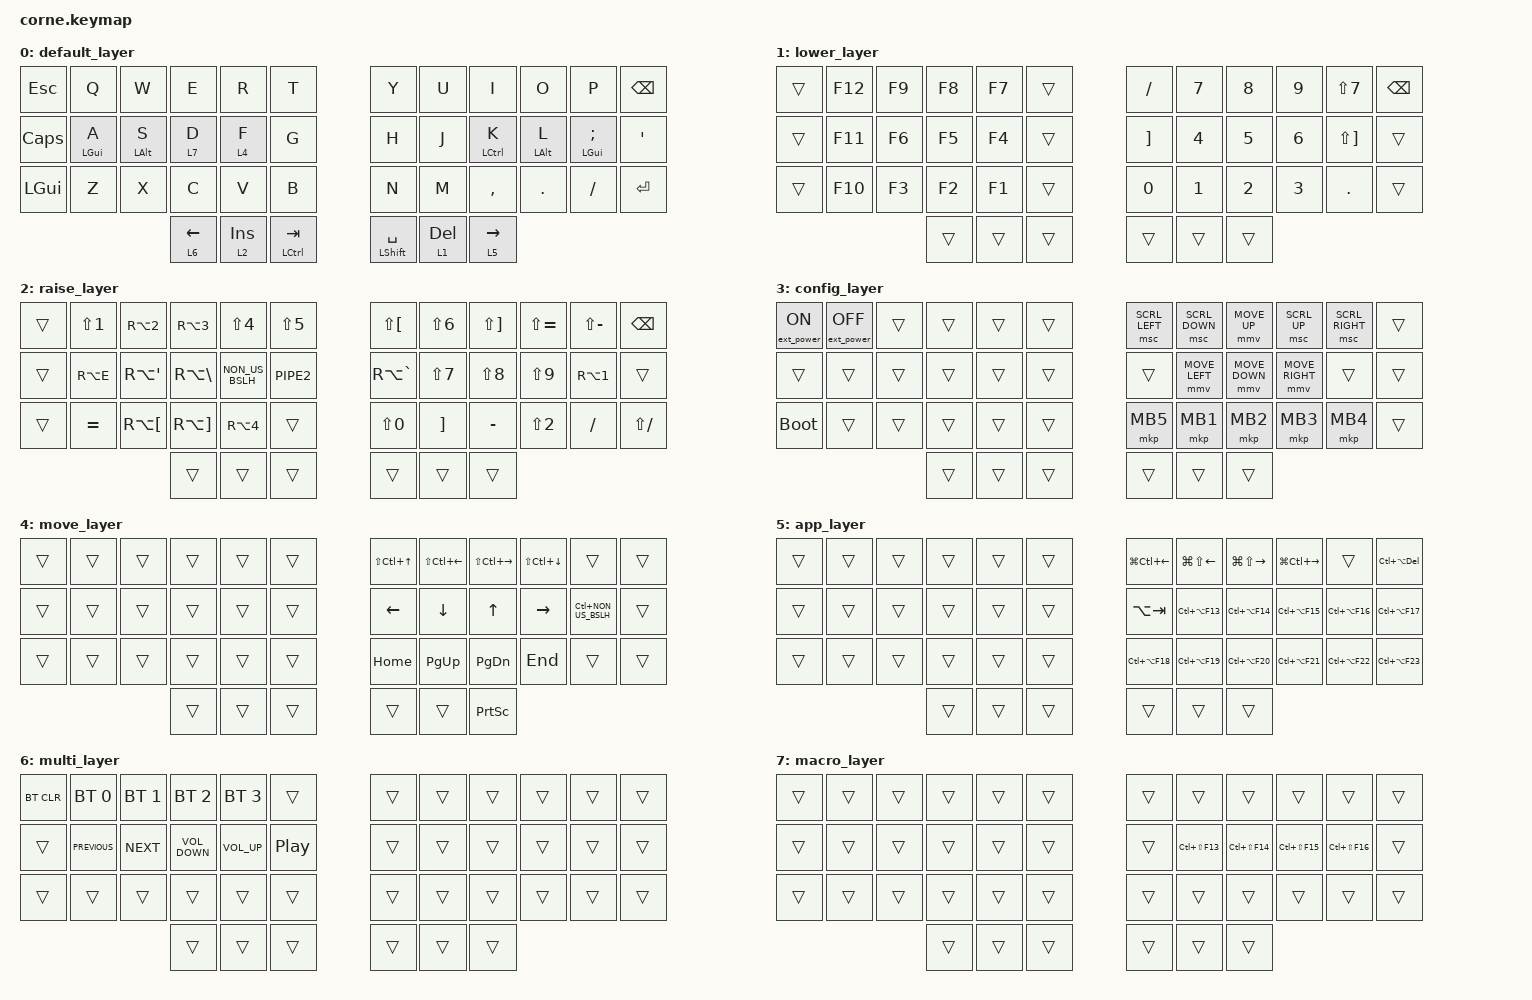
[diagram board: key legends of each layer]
/*
 * Copyright (c) 2020 The ZMK Contributors
 *
 * SPDX-License-Identifier: MIT
 */

#include <behaviors.dtsi>
#include <dt-bindings/zmk/keys.h>
#include <dt-bindings/zmk/bt.h>
#include <dt-bindings/zmk/ext_power.h>

#define ZMK_POINTING_DEFAULT_MOVE_VAL 1500  // default: 600
#define ZMK_POINTING_DEFAULT_SCRL_VAL 20    // default: 10

#include <dt-bindings/zmk/pointing.h>

/ {
    behaviors {
        // Ajusta las propiedades por defecto del Mod-Tap
        mt: mod_tap {
            tapping-term-ms = <260>;
            quick-tap-ms = <150>;
            flavor = "tap-preferred"; 
        };
        
        // Puedes hacer lo mismo para Layer-Tap si lo usas
        // lt: layer_tap {
        //     tapping-term-ms = <250>;
        // };
    };
};

/ {
    conditional_layers {
        compatible = "zmk,conditional-layers";
        tri_layer {
            if-layers = <1 2>;
            then-layer = <3>;
        };
    };
};
/ {
    macros {
        mcr_f13: mcr_f13 {
            compatible = "zmk,behavior-macro";
            #binding-cells = <0>;
            wait-ms = <0>;
            tap-ms = <0>;
            bindings = <&kp LC(LS(F13))>;
        };
    };
};
/ {
        keymap {
                compatible = "zmk,keymap";

                default_layer {
// 0 - Principal
// -----------------------------------------------------------------------------------------
// |  ESC |  Q  |  W  |  E  |  R  |  T  |   |  Y  |  U   |  I  |  O  |  P  | BKSP |
// | CAPS |  A  |  S  |  D  |  F  |  G  |   |  H  |  J   |  K  |  L  |  ;  |  '   |
// | Win  |  Z  |  X  |  C  |  V  |  B  |   |  N  |  M   |  ,  |  .  |  /  | ESC  |
//                    | GUI | LWR | SPC |   | ENT | RSE  | ALT |
                        bindings = <
   &kp ESC   &kp Q      &kp W       &kp E       &kp R      &kp T                      &kp Y           &kp U       &kp I       &kp O       &kp P         &kp BSPC
   &kp CAPS  &mt LGUI A &mt LALT S  &lt 7 D     &lt 4 F    &kp G                      &kp H           &kp J       &mt LCTRL K &mt LALT L  &mt LGUI SEMI &kp SQT
   &kp LGUI  &kp Z      &kp X       &kp C       &kp V      &kp B                      &kp N           &kp M       &kp COMMA   &kp DOT     &kp FSLH      &kp RET
                                    &lt 6 LEFT  &lt 2 INS  &mt LCTRL TAB                  &mt LSHFT SPACE &lt 1 DEL   &lt 5 RIGHT
                        >;
                };
// 1 - Numeros
// -----------------------------------------------------------------------------------------
// |      |  F12  |  F9  |  F8  |  F7  |     |   |  -  |  7   |  8  |  9  |  /  | BKSP |
// |      |  F11  |  F6  |  F5  |  F4  |     |   |  +  |  4   |  5  |  6  |  *  |  '   |
// |      |  F10  |  F3  |  F2  |  F1  |     |   |  0  |  1   |  2  |  3  |  .  | ESC  |
//                     | GUI  | LWR  | SPC |   | ENT | RSE  | ALT |
                lower_layer {
                        bindings = <
   &trans  &kp F12 &kp F9 &kp F8 &kp F7 &trans                   &kp FSLH &kp N7 &kp N8 &kp N9 &kp LS(N7)  &kp BSPC
   &trans  &kp F11 &kp F6 &kp F5 &kp F4 &trans                   &kp RBKT &kp N4 &kp N5 &kp N6 &kp LS(RBKT)  &trans
   &trans  &kp F10 &kp F3 &kp F2 &kp F1 &trans                   &kp N0   &kp N1 &kp N2 &kp N3 &kp DOT &trans
                          &trans &trans &trans                   &trans   &trans &trans
                        >;
                };

// 2 - Simbolos
                raise_layer {
// -----------------------------------------------------------------------------------------
// |  TAB |  !  |  @  |  #  |  $  |  %  |   |  ^  |  &  |  *  |  ¿  |  ?  | BKSP |
// | LALT |  €  |  {  |  }  |  <  |  >  |   |  \  |  /  | (   |  )  | "|" |  `   |
// | SHFT |  ¡  | [  |  ]   |  ~  |     |   |  =  |  +  |  '  |  "  |  -  |  _   |
//                    | GUI |     | SPC |   | ENT |     | ALT |
                        bindings = <
   &trans  &kp LS(N1) &kp RA(N2)   &kp RA(N3)        &kp LS(N4)       &kp LS(N5)                &kp LS(LBKT)   &kp LS(N6)  &kp LS(RBKT) &kp LS(EQUAL) &kp LS(MINUS)  &kp BSPC
   &trans  &kp RA(E)  &kp RA(APOS) &kp RA(BACKSLASH) &kp NON_US_BSLH  &kp PIPE2                 &kp RA(GRAVE)  &kp LS(N7)  &kp LS(N8)   &kp LS(N9)    &kp RA(N1)     &trans 
   &trans  &kp EQUAL  &kp RA(LBKT) &kp RA(RBKT)      &kp RA(N4)       &trans                    &kp LS(N0)     &kp RBKT    &kp MINUS    &kp LS(N2)    &kp FSLH       &kp LS(FSLH)
                                   &trans            &trans           &trans                    &trans         &trans      &trans
                        >;
                };

    // 3 - Config y  Raton
                config_layer {
                        bindings = <
   &ext_power EP_ON &ext_power EP_OFF &trans &trans   &trans   &trans             &msc SCRL_LEFT &msc SCRL_DOWN     &mmv MOVE_UP      &msc SCRL_UP     &msc SCRL_RIGHT  &trans
   &trans           &trans            &trans &trans   &trans   &trans             &trans         &mmv MOVE_LEFT     &mmv MOVE_DOWN    &mmv MOVE_RIGHT  &trans           &trans
   &bootloader      &trans            &trans &trans   &trans   &trans             &mkp MB5       &mkp MB1           &mkp MB2          &mkp MB3         &mkp MB4         &trans
                                             &trans   &trans   &trans             &trans         &trans             &trans
                        >;
                };
    // 4 - Flechas
                 move_layer {
                        bindings = <
   &trans  &trans &trans &trans &trans &trans                              &kp LS(LC(UP)) &kp LS(LC(LEFT))  &kp LS(LC(RIGHT)) &kp LS(LC(DOWN))   &trans              &trans
   &trans  &trans &trans &trans &trans &trans                              &kp LEFT       &kp DOWN          &kp UP            &kp RIGHT          &kp LC(NON_US_BSLH) &trans 
   &trans  &trans &trans &trans &trans &trans                              &kp HOME       &kp PG_UP         &kp PG_DN         &kp END            &trans              &trans
                         &trans &trans &trans                              &trans         &trans            &kp PSCRN
                        >;
                };
    // 5  - Aplicaciones
                 app_layer {
                        bindings = <
   &trans        &trans             &trans       &trans         &trans      &trans                       &kp LG(LC(LEFT)) &kp LG(LS(LEFT)) &kp LG(LS(RIGHT)) &kp LG(LC(RIGHT)) &trans           &kp LC(LA(DEL))
   &trans        &trans             &trans       &trans         &trans      &trans                       &kp LA(TAB)      &kp LC(LA(F13))  &kp LC(LA(F14))   &kp LC(LA(F15))   &kp LC(LA(F16))  &kp LC(LA(F17))
   &trans        &trans             &trans       &trans         &trans      &trans                       &kp LC(LA(F18))  &kp LC(LA(F19))  &kp LC(LA(F20))   &kp LC(LA(F21))   &kp LC(LA(F22))  &kp LC(LA(F23))
                                                 &trans         &trans      &trans                       &trans           &trans        &trans
                        >;
                };

    // 6  - Atajos y multimedia
                 multi_layer {
                        bindings = <
   &bt BT_CLR    &bt BT_SEL 0     &bt BT_SEL 1  &bt BT_SEL 2      &bt BT_SEL 3     &trans                        &trans           &trans           &trans            &trans           &trans   &trans
   &trans        &kp C_PREVIOUS   &kp C_NEXT    &kp C_VOLUME_DOWN &kp C_VOLUME_UP  &kp C_PLAY_PAUSE              &trans           &trans           &trans            &trans           &trans   &trans
   &trans        &trans           &trans        &trans            &trans           &trans                        &trans           &trans           &trans            &trans           &trans   &trans
                                                &trans            &trans           &trans                        &trans           &trans           &trans
                        >;
                };
    
    // 7 - Macros
                 macro_layer {
                        bindings = <
   &trans        &trans           &trans        &trans            &trans           &trans                        &trans           &trans             &trans              &trans             &trans              &trans
   &trans        &trans           &trans        &trans            &trans           &trans                        &trans           &kp LC(LS(F13))    &kp LC(LS(F14))     &kp LC(LS(F15))    &kp LC(LS(F16))          &trans
   &trans        &trans           &trans        &trans            &trans           &trans                        &trans           &trans             &trans              &trans             &trans              &trans
                                                &trans            &trans           &trans                        &trans           &trans             &trans
                        >;
                };

        };
};
